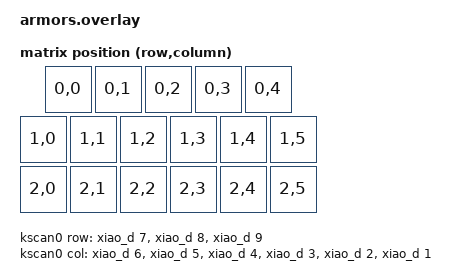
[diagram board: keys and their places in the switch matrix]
#include <dt-bindings/zmk/matrix_transform.h>

/ {
    chosen {
        zmk,physical-layout = &armors_physical_layout;
    };

    // 物理レイアウト設定
    armors_physical_layout: armors_physical_layout {
        compatible = "zmk,physical-layout";
        display-name = "Default";
        kscan = <&kscan0>;
        transform = <&default_transform>;
	    keys //                  w   h   x   y rot rx ry
        // Key
	    = <&key_physical_attrs 100 100 50 0  0  0  0>
	    , <&key_physical_attrs 100 100 150 0   0  0  0>
	    , <&key_physical_attrs 100 100 250 0   0  0  0>
	    , <&key_physical_attrs 100 100 350 0   0  0  0>
	    , <&key_physical_attrs 100 100 450 0   0  0  0>

	    , <&key_physical_attrs 100 100   0 100   0  0  0>
	    , <&key_physical_attrs 100 100 100 100   0  0  0>
	    , <&key_physical_attrs 100 100 200 100   0  0  0>
	    , <&key_physical_attrs 100 100 300 100   0  0  0>
	    , <&key_physical_attrs 100 100 400 100   0  0  0>
	    , <&key_physical_attrs 100 100 500 100   0  0  0>

	    , <&key_physical_attrs 100 100   0 200   0  0  0>
	    , <&key_physical_attrs 100 100 100 200   0  0  0>
	    , <&key_physical_attrs 100 100 200 200   0  0  0>
	    , <&key_physical_attrs 100 100 300 200   0  0  0>
	    , <&key_physical_attrs 100 100 400 200   0  0  0>
	    , <&key_physical_attrs 100 100 500 200   0  0  0>
		;
    };

    default_transform: keymap_transform_0 {
        compatible = "zmk,matrix-transform";
        columns = <6>;
        rows = <3>;
        map = <
            RC(0,0) RC(0,1) RC(0,2) RC(0,3) RC(0,4)
            RC(1,0) RC(1,1) RC(1,2) RC(1,3) RC(1,4) RC(1,5)
            RC(2,0) RC(2,1) RC(2,2) RC(2,3) RC(2,4) RC(2,5)
        >;
    };


    kscan0: kscan_0 {
        compatible = "zmk,kscan-gpio-matrix";
        wakeup-source;

        diode-direction = "col2row";

        col-gpios
            = <&xiao_d 6 GPIO_ACTIVE_HIGH>
            , <&xiao_d 5 GPIO_ACTIVE_HIGH>
            , <&xiao_d 4 GPIO_ACTIVE_HIGH>
            , <&xiao_d 3 GPIO_ACTIVE_HIGH>
            , <&xiao_d 2 GPIO_ACTIVE_HIGH>
            , <&xiao_d 1 GPIO_ACTIVE_HIGH>
            ;

        row-gpios
            = <&xiao_d 7 (GPIO_ACTIVE_HIGH | GPIO_PULL_DOWN)>
            , <&xiao_d 8 (GPIO_ACTIVE_HIGH | GPIO_PULL_DOWN)>
            , <&xiao_d 9 (GPIO_ACTIVE_HIGH | GPIO_PULL_DOWN)>
            ;
    };

};
